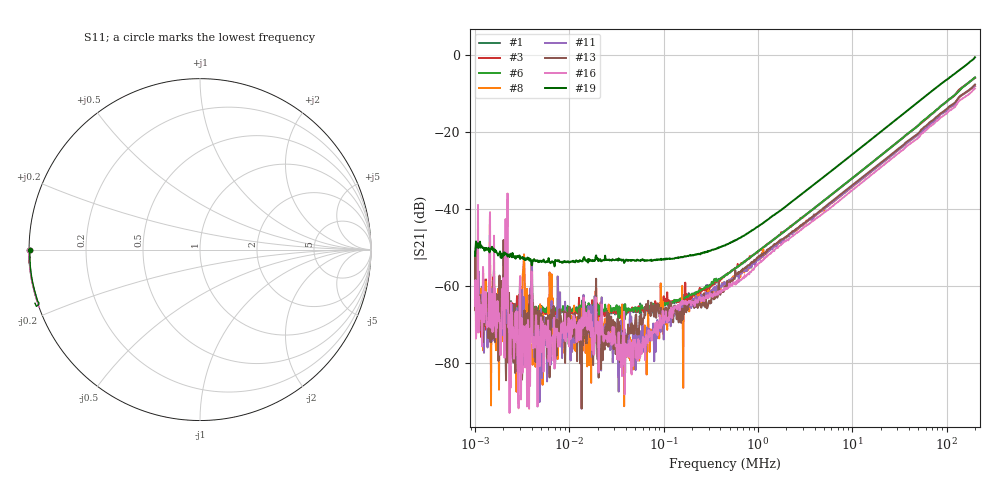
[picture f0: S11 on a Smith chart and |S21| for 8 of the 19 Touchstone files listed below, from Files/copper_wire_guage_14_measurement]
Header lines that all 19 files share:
! ListType=Log
# MHZ S RI R 50
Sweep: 1 kHz to 200 MHz
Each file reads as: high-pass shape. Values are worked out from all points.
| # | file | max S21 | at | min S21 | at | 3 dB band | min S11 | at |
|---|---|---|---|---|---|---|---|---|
| 1 | copper_loop_postamp2.s2p | -5.89 dB | 200 MHz | -72.2 dB | 1.201 kHz | 138.6 MHz-200 MHz | -0.1 dB | 11.95 kHz |
| 2 | copper_loop_postamp3.s2p | -5.88 dB | 200 MHz | -84.9 dB | 43.62 kHz | 138.6 MHz-200 MHz | -0.1 dB | 11.95 kHz |
| 3 | copper_loop_postamp4.s2p | -5.88 dB | 200 MHz | -73.2 dB | 1.172 kHz | 138.6 MHz-200 MHz | 0.0 dB | 11.95 kHz |
| 4 | copper_loop_postamp5.s2p | -5.89 dB | 200 MHz | -78.7 dB | 17.88 kHz | 138.6 MHz-200 MHz | 0.0 dB | 1.089 kHz |
| 5 | copper_loop_postamp6.s2p | -5.87 dB | 200 MHz | -72.9 dB | 3.607 kHz | 138.6 MHz-200 MHz | -0.1 dB | 11.95 kHz |
| 6 | copper_loop_postamp.s2p | -5.75 dB | 200 MHz | -70.0 dB | 22 kHz | 143.8 MHz-200 MHz | 0.0 dB | 1.025 kHz |
| 7 | copper_p1_postamp2.s2p | -8.02 dB | 200 MHz | -88.3 dB | 8.179 kHz | 135.3 MHz-200 MHz | 0.0 dB | 11.95 kHz |
| 8 | copper_p1_postamp3.s2p | -8.03 dB | 200 MHz | -91.1 dB | 38.13 kHz | 135.3 MHz-200 MHz | 0.0 dB | 23.97 kHz |
| 9 | copper_p1_postamp4.s2p | -8.01 dB | 200 MHz | -86.9 dB | 1.357 kHz | 135.3 MHz-200 MHz | 0.0 dB | 11.95 kHz |
| 10 | copper_p1_postamp5.s2p | -8.01 dB | 200 MHz | -94.4 dB | 1.733 kHz | 135.3 MHz-200 MHz | 0.0 dB | 11.95 kHz |
| 11 | copper_p1_postamp6.s2p | -8.01 dB | 200 MHz | -90.0 dB | 4.836 kHz | 135.3 MHz-200 MHz | 0.0 dB | 11.95 kHz |
| 12 | copper_p1_postamp.s2p | -8.02 dB | 200 MHz | -93.4 dB | 17.02 kHz | 135.3 MHz-200 MHz | 0.0 dB | 185.9 MHz |
| 13 | copper_postamp2.s2p | -7.62 dB | 200 MHz | -91.7 dB | 13.5 kHz | 140.3 MHz-200 MHz | 0.0 dB | 1.116 kHz |
| 14 | copper_postamp3.s2p | -8.66 dB | 200 MHz | -85.6 dB | 1.754 kHz | 140.3 MHz-200 MHz | 0.0 dB | 11.95 kHz |
| 15 | copper_postamp4.s2p | -8.66 dB | 200 MHz | -85.5 dB | 5.079 kHz | 140.3 MHz-200 MHz | 0.0 dB | 1.116 kHz |
| 16 | copper_postamp5.s2p | -8.67 dB | 200 MHz | -92.8 dB | 2.324 kHz | 140.3 MHz-200 MHz | 0.0 dB | 11.95 kHz |
| 17 | copper_postamp6.s2p | -8.66 dB | 200 MHz | -93.7 dB | 19.47 kHz | 140.3 MHz-200 MHz | 0.0 dB | 11.95 kHz |
| 18 | copper_postamp.s2p | -5.40 dB | 200 MHz | -93.3 dB | 4.495 kHz | 140.3 MHz-200 MHz | 0.0 dB | 200 MHz |
| 19 | solder_blob_postamp.s2p | -0.53 dB | 200 MHz | -54.8 dB | 6.978 kHz | 143.8 MHz-200 MHz | -0.1 dB | 192.8 MHz |
